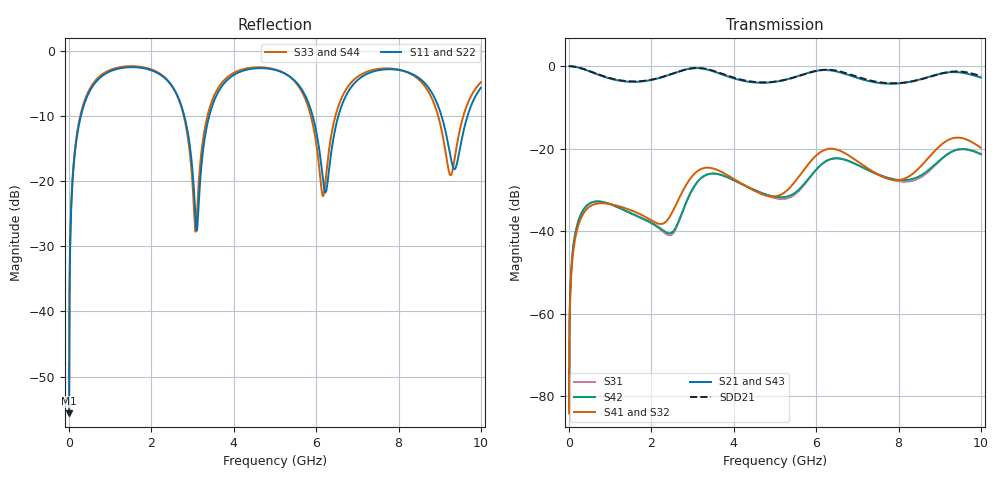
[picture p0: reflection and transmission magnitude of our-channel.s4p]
! Created with skrf 2.0.1 (http://scikit-rf.org).
# Hz S RI R 50.0
!freq ReS11 ImS11 ReS12 ImS12 ReS13 ImS13
! ReS14 ImS14
! ReS21 ImS21 ReS22 ImS22 ReS23 ImS23
! ReS24 ImS24
! ReS31 ImS31 ReS32 ImS32 ReS33 ImS33
! ReS34 ImS34
! ReS41 ImS41 ReS42 ImS42 ReS43 ImS43
! ReS44 ImS44
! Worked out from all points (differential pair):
!   1001 points, 1 MHz to 10 GHz, reference 50 ohm
!   strongest paths, dB at 1 MHz, 2.501 GHz, 5 GHz, 7.5 GHz, 10 GHz:
!     S21: 0.0, -1.9, -3.8, -4.0, -2.8
!     S43: 0.0, -1.9, -3.9, -4.3, -3.2
!     S41: -84.1, -35.5, -31.5, -26.2, -19.8
!     S32: -84.1, -35.5, -31.8, -26.6, -20.0
!     S42: -83.1, -40.3, -31.6, -26.2, -21.3
!     S31: -83.1, -40.8, -32.0, -26.3, -21.2
!   taken as a pair (ports 1,3 in; 2,4 out), SDD21 dB: 0.0, -1.9, -3.7, -3.8, -2.4
!   lowest |S11| = -55.6 dB at 1 MHz (marker M1), VSWR 1.00, Z = 50.1 + j0.125 ohm
!   |S11| at or under -10 dB: 2.798 GHz to 3.404 GHz (605.6 MHz wide, 19.5 % of centre); 5.915 GHz to 6.539 GHz (624.2 MHz wide, 10 % of centre); 9.044 GHz to 9.676 GHz (632 MHz wide, 6.75 % of centre)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
1000000  0.00108 0.00125  0.9989 -0.00168  2.37e-06 7.01e-05  -2.33e-06 -6.25e-05
         0.9989 -0.00168  0.00108 0.00125  -2.33e-06 -6.25e-05  2.37e-06 7.01e-05
         2.37e-06 7.01e-05  -2.33e-06 -6.25e-05  0.00108 0.00131  0.9989 -0.00173
         -2.33e-06 -6.25e-05  2.37e-06 7.01e-05  0.9989 -0.00173  0.00108 0.00131
1.90981e8  0.068 0.2086  0.9276 -0.2859  0.00562 0.0101  -0.0055 -0.00868
           0.9276 -0.2859  0.0682 0.2085  -0.0055 -0.00867  0.00563 0.0101
           0.00562 0.0101  -0.0055 -0.00867  0.0732 0.2183  0.9227 -0.2938
           -0.0055 -0.00868  0.00563 0.0101  0.9227 -0.2938  0.0731 0.2183
8.80912e8  0.5954 0.2976  0.3293 -0.6569  0.022 -0.00322  -0.0198 0.00904
           0.3293 -0.6569  0.5966 0.2951  -0.0197 0.00903  0.022 -0.00334
           0.022 -0.00322  -0.0197 0.00903  0.6169 0.2943  0.3117 -0.6476
           -0.0198 0.00904  0.022 -0.00334  0.3117 -0.6476  0.6165 0.2952
3.030697e9  0.0453 -0.0738  -0.9431 -0.0483  -0.00226 0.0344  -0.0017 0.0489
            -0.9431 -0.0483  0.0425 -0.0744  -0.00239 0.049  -0.00256 0.0343
            -0.00226 0.0344  -0.00239 0.049  0.0411 -0.0473  -0.9449 -0.013
            -0.0017 0.0489  -0.00256 0.0343  -0.9449 -0.013  0.0433 -0.0471
4.410559e9  0.7215 0.0718  -0.0603 0.6381  0.0194 -0.0262  0.0273 -0.0179
            -0.0603 0.6381  0.7224 0.0573  0.027 -0.0167  0.0194 -0.027
            0.0194 -0.0262  0.027 -0.0167  0.7399 0.0444  -0.0411 0.622
            0.0273 -0.0179  0.0194 -0.027  -0.0411 0.622  0.7396 0.0492
6.150385e9  0.082 -0.0779  0.8951 0.00341  0.00134 0.0659  -0.00446 -0.0938
            0.8951 0.00341  0.0731 -0.0793  -0.00182 -0.0945  0.000299 0.0658
            0.00134 0.0659  -0.00182 -0.0945  0.0746 -0.0249  0.8934 -0.0661
            -0.00446 -0.0938  0.000299 0.0658  0.8934 -0.0661  0.0822 -0.0248
1e10  0.4679 0.2263  -0.4054 0.6035  0.0833 -0.0244  0.1021 0.00984
      -0.4054 0.6035  0.4717 0.214  0.0994 0.0141  0.0821 -0.0245
      0.0833 -0.0244  0.0994 0.0141  0.5341 0.2087  -0.3304 0.6094
      0.1021 0.00984  0.0821 -0.0245  -0.3304 0.6094  0.5371 0.2056
